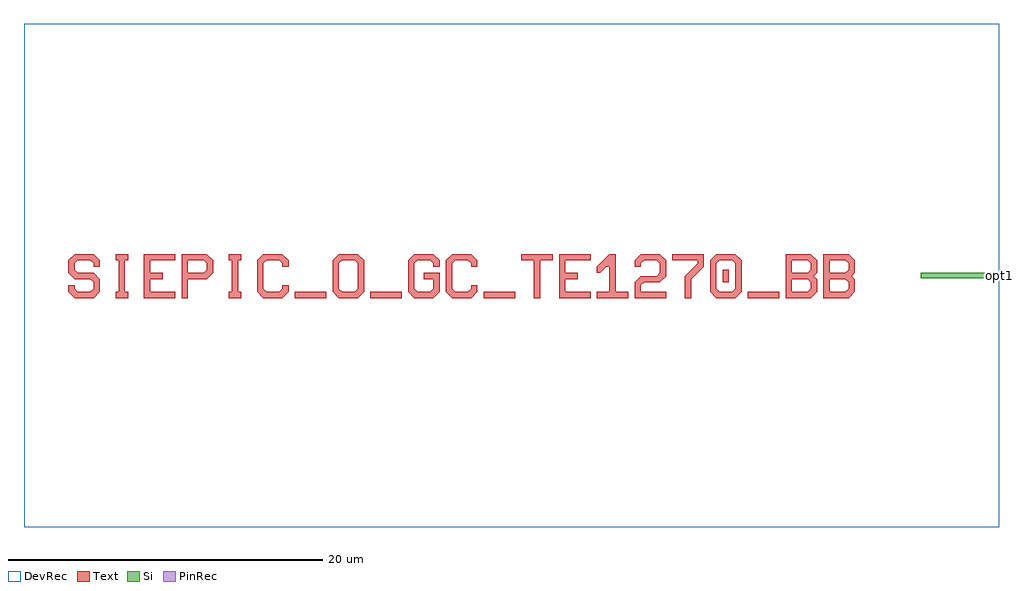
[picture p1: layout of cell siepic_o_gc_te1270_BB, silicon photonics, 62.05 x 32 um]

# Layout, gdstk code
import gdstk
lib = gdstk.Library(unit=1e-6, precision=1e-09)
def R(c, l, rs):  # rectangles x0, y0, x1, y1
    for r in rs: c.add(gdstk.rectangle(r[:2], r[2:], *l))
def P(c, l, *ps):  # polygons
    for p in ps: c.add(gdstk.Polygon(p, *l))
Si = (1, 0)
PinRec = (1, 10)
Text = (10, 0)
DevRec = (68, 0)

text_1 = lib.new_cell('TEXT$1')
R(text_1, Text, [(14.4,0,16.4,0.4), (19.2,0,21.2,0.4), (26.4,0,28.4,0.4), (43.2,0,45.2,0.4), (41.6,1,42,1.8)])
P(text_1, Text, [(3,0),(3,0.4),(3.2,0.4),(3.2,2.4),(3,2.4),(3,2.8),(3.8,2.8),(3.8,2.4),(3.6,2.4),(3.6,0.4),(3.8,0.4),(3.8,0)],
  [(10.2,0),(10.2,0.4),(10.4,0.4),(10.4,2.4),(10.2,2.4),(10.2,2.8),(11,2.8),(11,2.4),(10.8,2.4),(10.8,0.4),(11,0.4),(11,0)],
  [(29.6,0),(29.6,2.4),(28.8,2.4),(28.8,2.8),(30.8,2.8),(30.8,2.4),(30,2.4),(30,0)],
  [(12.4,0),(12,0.4),(12,2.4),(12.4,2.8),(13.6,2.8),(14,2.4),(14,2),(13.6,2),(13.6,2.2),(13.4,2.4),(12.6,2.4),(12.4,2.2),(12.4,0.6),(12.6,0.4),(13.4,0.4),(13.6,0.6),(13.6,0.8),(14,0.8),(14,0.4),(13.6,0)],
  [(24.4,0),(24,0.4),(24,2.4),(24.4,2.8),(25.6,2.8),(26,2.4),(26,2),(25.6,2),(25.6,2.2),(25.4,2.4),(24.6,2.4),(24.4,2.2),(24.4,0.6),(24.6,0.4),(25.4,0.4),(25.6,0.6),(25.6,0.8),(26,0.8),(26,0.4),(25.6,0)],
  [(7.2,0),(7.2,2.8),(8.8,2.8),(9.2,2.4),(9.2,1.6),(8.8,1.2),(7.6,1.2),(7.6,1.6),(8.6,1.6),(8.8,1.8),(8.8,2.2),(8.6,2.4),(7.6,2.4),(7.6,0)],
  [(39.2,0),(39.2,1.4),(40,2.2),(40,2.4),(38.4,2.4),(38.4,2.8),(40.4,2.8),(40.4,2),(39.6,1.2),(39.6,0)],
  [(4.8,0),(4.8,2.8),(6.8,2.8),(6.8,2.4),(5.2,2.4),(5.2,1.6),(6,1.6),(6,1.2),(5.2,1.2),(5.2,0.4),(6.8,0.4),(6.8,0)],
  [(31.2,0),(31.2,2.8),(33.2,2.8),(33.2,2.4),(31.6,2.4),(31.6,1.6),(32.4,1.6),(32.4,1.2),(31.6,1.2),(31.6,0.4),(33.2,0.4),(33.2,0)],
  [(36,0),(36,1),(36.4,1.4),(37.4,1.4),(37.6,1.6),(37.6,2.2),(37.4,2.4),(36.6,2.4),(36.4,2.2),(36.4,2),(36,2),(36,2.4),(36.4,2.8),(37.6,2.8),(38,2.4),(38,1.4),(37.6,1),(36.6,1),(36.4,0.8),(36.4,0.4),(38,0.4),(38,0)],
  [(45.6,0),(45.6,2.8),(47.2,2.8),(47.6,2.4),(46,2.4),(46,1.6),(47,1.6),(47.2,1.8),(47.2,2.2),(47,2.4),(47.6,2.4),(47.6,1.6),(47.4,1.4),(47.6,1.2),(46,1.2),(46,0.4),(47,0.4),(47.2,0.6),(47.2,1),(47,1.2),(47.6,1.2),(47.6,0.4),(47.2,0)],
  [(48,0),(48,2.8),(49.6,2.8),(50,2.4),(48.4,2.4),(48.4,1.6),(49.4,1.6),(49.6,1.8),(49.6,2.2),(49.4,2.4),(50,2.4),(50,1.6),(49.8,1.4),(50,1.2),(48.4,1.2),(48.4,0.4),(49.4,0.4),(49.6,0.6),(49.6,1),(49.4,1.2),(50,1.2),(50,0.4),(49.6,0)],
  [(41.2,0),(40.8,0.4),(40.8,2.4),(41.2,2.8),(42.4,2.8),(42.8,2.4),(41.4,2.4),(41.2,2.2),(41.2,0.6),(41.4,0.4),(42.2,0.4),(42.4,0.6),(42.4,2.2),(42.2,2.4),(42.8,2.4),(42.8,0.4),(42.4,0)],
  [(0.4,0),(0,0.4),(0,0.8),(0.4,0.8),(0.4,0.6),(0.6,0.4),(1.4,0.4),(1.6,0.6),(1.6,1),(1.4,1.2),(0.4,1.2),(0,1.6),(0,2.4),(0.4,2.8),(1.6,2.8),(2,2.4),(2,2),(1.6,2),(1.6,2.2),(1.4,2.4),(0.6,2.4),(0.4,2.2),(0.4,1.8),(0.6,1.6),(1.6,1.6),(2,1.2),(2,0.4),(1.6,0)],
  [(17.2,0),(16.8,0.4),(16.8,2.4),(17.2,2.8),(18.4,2.8),(18.8,2.4),(18.8,1.4),(18.4,1.4),(18.4,2.2),(18.2,2.4),(17.4,2.4),(17.2,2.2),(17.2,0.6),(17.4,0.4),(18.2,0.4),(18.4,0.6),(18.4,1.4),(18.8,1.4),(18.8,0.4),(18.4,0)],
  [(22,0),(21.6,0.4),(21.6,2.4),(22,2.8),(23.2,2.8),(23.6,2.4),(23.6,2),(23.2,2),(23.2,2.2),(23,2.4),(22.2,2.4),(22,2.2),(22,0.6),(22.2,0.4),(23,0.4),(23.2,0.6),(23.2,1.2),(22.6,1.2),(22.6,1.6),(23.6,1.6),(23.6,0.4),(23.2,0)],
  [(33.6,0),(33.6,0.4),(34.4,0.4),(34.4,2),(34.2,2),(33.8,1.6),(33.6,1.6),(33.6,2),(34.4,2.8),(34.8,2.8),(34.8,0.4),(35.6,0.4),(35.6,0)])

siepic_o_gc_te1270_bb = lib.new_cell('siepic_o_gc_te1270_BB')
R(siepic_o_gc_te1270_bb, Si, [(-5.05,-0.175,-0.05,0.175)])
R(siepic_o_gc_te1270_bb, DevRec, [(-62.05,-16,-0.05,16)])
siepic_o_gc_te1270_bb.add(gdstk.FlexPath([(-0.1,0),(0,0)], 0.35, ends="flush", simple_path=True, layer=1, datatype=10))  # PinRec
siepic_o_gc_te1270_bb.add(gdstk.Reference(text_1, (-59.23,-1.435)))
siepic_o_gc_te1270_bb.add(gdstk.Label('opt1', (-0.05,0), layer=1, texttype=10))

lib.write_gds('siepic_o_gc_te1270_BB.gds')
